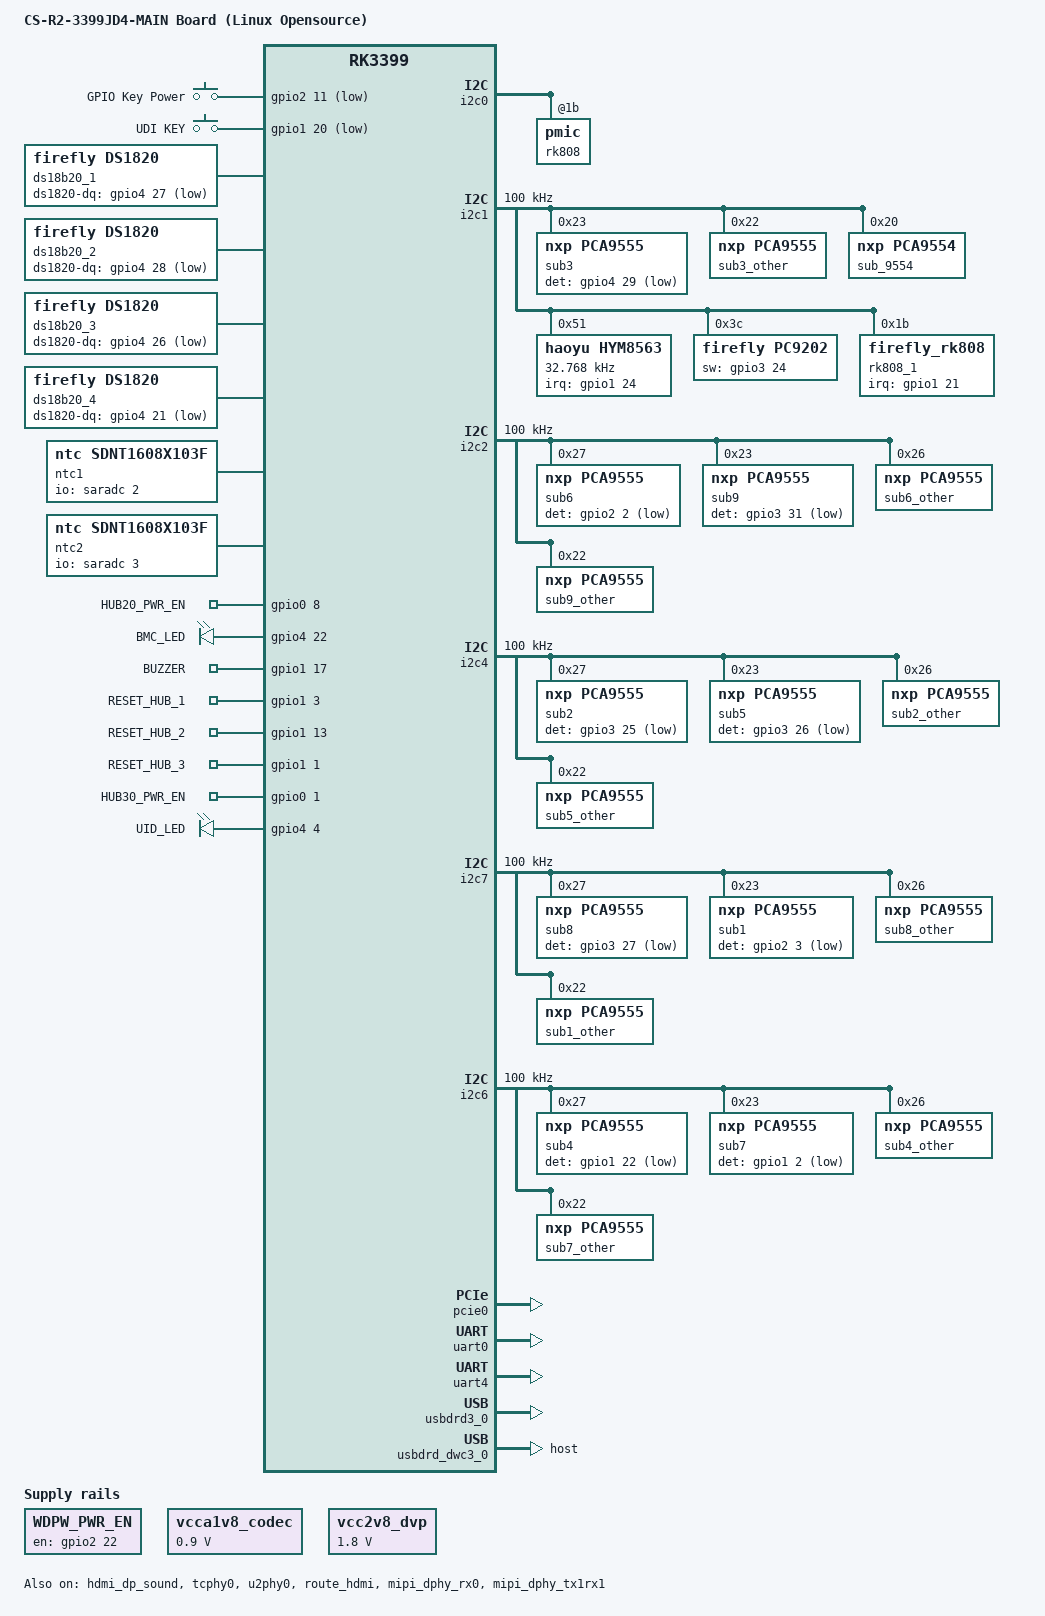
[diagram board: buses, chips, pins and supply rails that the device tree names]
/dts-v1/;

#include "rk3399-firefly-port.dtsi"
#include <dt-bindings/sensor-dev.h>


#define PCA955_I2C_CLK 100000

/ {
	model = "CS-R2-3399JD4-MAIN Board (Linux Opensource)";
	compatible = "rockchip,rk3399-firefly", "rockchip,rk3399";

	/delete-property/ rt5640-sound;
	/delete-node/ wireless-wlan;
	/delete-node/ wireless-bluetooth;
	/delete-node/ vcc5v0_host;

	///delete-node/ vcc-mipi;

	//UDI_KEY
	// gpio-keys {
    //     compatible = "gpio-keys";
    //     #address-cells = <1>;
    //     #size-cells = <0>;
    //     autorepeat;

    //     pinctrl-names = "default";
    //     pinctrl-0 = <&pwrbtn>;

    //     button@0 {
    //         gpios = <&gpio1 20 GPIO_ACTIVE_LOW>;
    //         linux,code = <KEY_POWER>;
    //         label = "GPIO Key Power";
    //         linux,input-type = <1>;
    //         gpio-key,wakeup = <1>;
    //         debounce-interval = <100>;
    //     };
    // };

	gpio-keys {
		compatible = "gpio-keys";
		#address-cells = <1>;
		#size-cells = <0>;
		autorepeat;

		pinctrl-names = "default";
		pinctrl-0 = <&pwrbtn>;

		button@0 {
			gpios = <&gpio2 11 GPIO_ACTIVE_LOW>;		//power_key       GPIO2_B3
			linux,code = <KEY_POWER>;
			label = "GPIO Key Power";
			linux,input-type = <1>;
			gpio-key,wakeup = <1>;
			debounce-interval = <100>;
		};
	};


	UDI-keys {
		compatible = "gpio-keys";
		#address-cells = <1>;
		#size-cells = <0>;
		autorepeat;

		// pinctrl-names = "default";
		// pinctrl-0 = <&pwrbtn>;

		button@UDI_KEY {
			gpios = <&gpio1 20 GPIO_ACTIVE_LOW>;		//power_key       GPIO1_C4
			linux,code = <KEY_POWER>;
			label = "UDI KEY";
			linux,input-type = <1>;
			gpio-key,wakeup = <1>;
			debounce-interval = <100>;
		};
	};

	test-power {
		status = "okay";
	};

	ds18b20_1 {
		compatible = "firefly,ds1820";
		ds1820-dq = <&gpio4 27 GPIO_ACTIVE_LOW>; //GPIO4_D3 TEMP_DET_1
		ds18b20-id = <1>;
		status = "okay";
	};

	ds18b20_2 {
		compatible = "firefly,ds1820";
		ds1820-dq = <&gpio4 28 GPIO_ACTIVE_LOW>; //GPIO4_D4 TEMP_DET_2
		ds18b20-id = <2>;
		status = "okay";
	};

	ds18b20_3 {
		compatible = "firefly,ds1820";
		ds1820-dq = <&gpio4 26 GPIO_ACTIVE_LOW>; //GPIO4_D2 TEMP_DET_3
		ds18b20-id = <3>;
		status = "okay";
	};

	ds18b20_4 {
		compatible = "firefly,ds1820";
		ds1820-dq = <&gpio4 21 GPIO_ACTIVE_LOW>; //GPIO4_C5 TEMP_DET_4
		ds18b20-id = <4>;
		status = "okay";
	};

	ntc1 {
		compatible = "ntc,sdnt1608x103f";
		pullup-uv = <1800000>;
		pullup-ohm = <10000>;
		pulldown-ohm = <0>;
		io-channels = <&saradc 2>;
	};

	ntc2 {
		compatible = "ntc,sdnt1608x103f";
		pullup-uv = <1800000>;
		pullup-ohm = <10000>;
		pulldown-ohm = <0>;
		io-channels = <&saradc 3>;
	};

	WDPW_PWR_EN: WDPW-PWR-EN {
		compatible = "regulator-fixed";
		enable-active-high;
		regulator-always-on;
		regulator-boot-on;
		gpio = <&gpio2 22 GPIO_ACTIVE_HIGH>;            //GPIO2_C6
		pinctrl-names = "default";
		pinctrl-0 = <&wdpw_en>;
		regulator-name = "vcc5v0_wdpw";
		status = "okay";
	};

	leds {
		compatible = "gpio-leds";

		HUB20_PWR_EN {
			//BMC LED
			gpios = <&gpio0 8 GPIO_ACTIVE_HIGH>;	//GPIO0_B0
			default-state = "on";
		};

		BMC_LED {
			//BMC LED
			gpios = <&gpio4 22 GPIO_ACTIVE_HIGH>;	//GPIO4_C6  PWM1  32*4 + 22 = 128 + 22 = 150
			default-state = "on";
		};

		BUZZER {
			//BMC LED
			gpios = <&gpio1 17 GPIO_ACTIVE_HIGH>;	//GPIO1_C1  PWM1  32*1 + 17 = 32 + 17 = 49
			default-state = "off";
		};


		RESET_HUB_1 {
			//GPIO1_A3
			gpios = <&gpio1 3 GPIO_ACTIVE_HIGH>;
			default-state = "off";
		};


		RESET_HUB_2 {
			//GPIO1_B5
			gpios = <&gpio1 13 GPIO_ACTIVE_HIGH>;
			default-state = "off";
		};


		RESET_HUB_3 {
			//GPIO1_A1
			gpios = <&gpio1 1 GPIO_ACTIVE_HIGH>;
			default-state = "off";
		};

		HUB30_PWR_EN {
			//USB转前兆以太网卡
			gpios = <&gpio0 1 GPIO_ACTIVE_HIGH>;
			default-state = "off";
		};

		UID_LED {
			//USB转前兆以太网卡
			gpios = <&gpio4 4 GPIO_ACTIVE_HIGH>; //GPIO4_A4
			default-state = "off";
		};


		// work {
		// 	gpios = <&gpio4 18 GPIO_ACTIVE_HIGH>;	//GPIO4_C2  PWM0
		// 	default-state = "off";
		// };


		// work {
		// 	gpios = <&gpio2 27 GPIO_ACTIVE_HIGH>;	//GPIO2_D3
		// 	default-state = "off";
		// };
	};
};

&pwrbtn {
        rockchip,pins = <2 11 RK_FUNC_GPIO &pcfg_pull_up>;		//power_key       GPIO2_B3
};

&gmac {
	tx_delay = <0x2F>;
	rx_delay = <0x1E>;
};

&hdmi_dp_sound {
	status = "okay";
};

&i2c0 {
    rk808: pmic@1b {
        /delete-property/ pmic,stby-gpio;
		/delete-property/ rockchip,system-power-controller;
		/delete-property/ pmic,hold-gpio;
        pinctrl-names = "default";
        pinctrl-0 = <&pmic_int_l &pmic_dvs2 &pmic_hold>;

		rtc {
			status = "disabled";
		};
    };
};

&i2c1 {
	i2c-scl-rising-time-ns = <300>;
	i2c-scl-falling-time-ns = <15>;
	clock-frequency = <100000>;
	status = "okay";

	pca9555_1_1: i2c1gpio@23 {
		compatible = "nxp,pca9555";
		status = "okay";
		reg = <0x23>;
		gpio-controller;
		gpio-group-num = <1>;
		//#gpio-cells = <2>;
		det-gpio = <&gpio4 29 GPIO_ACTIVE_LOW>;		//GPIO4_D5_D_5V
		label = "sub3";
	};

	pca9555_1_2: i2c1gpio@22 {
		compatible = "nxp,pca9555";
		status = "okay";
		reg = <0x22>;
		gpio-controller;
		gpio-group-num = <10>;
		label = "sub3_other";
	};

	pca9554_1_1: i2c1gpio@20 {
		compatible = "nxp,pca9554";
		status = "okay";
		reg = <0x20>;
		gpio-controller;
		gpio-group-num = <19>;
		label = "sub_9554";
	};

	hym8563: hym8563@51 {
		compatible = "haoyu,hym8563";
		reg = <0x51>;
		interrupt-parent = <&gpio1>;
		interrupts = <24 IRQ_TYPE_EDGE_FALLING>;
		#clock-cells = <0>;
		clock-frequency = <32768>;
		clock-output-names = "xin32k";
		pinctrl-names = "default";
		pinctrl-0 = <&rtc_8563>;
		status = "okay";
	};

	pc9202: pc9202@3c {
		status = "okay";
		compatible = "firefly,pc9202";
		reg = <0x3c>;
		sw-gpio = <&gpio3 24 GPIO_ACTIVE_HIGH>;		//GPIO3_D0
		pinctrl-names = "default";
		pinctrl-0 = <&wdt_ctl>;
	};

	rk808_1: pmic@1_1b {
		compatible = "firefly_rk808";
		reg = <0x1b>;
		interrupt-parent = <&gpio1>;
		interrupts = <21 IRQ_TYPE_LEVEL_LOW>;
		// pmic,stby-gpio = <&gpio1 24 GPIO_ACTIVE_LOW>;
		// pmic,hold-gpio = <&gpio1 13 GPIO_ACTIVE_HIGH>;
		// pinctrl-names = "default";
		// pinctrl-0 = <&pmic_int_l &pmic_dvs2 &pmic_stby &pmic_hold>;
		rockchip,system-power-controller;
	};
};

&i2c2 {
	 //i2c-scl-rising-time-ns = <300>;
	 //i2c-scl-falling-time-ns = <300>;
	clock-frequency = <PCA955_I2C_CLK>;
	status = "okay";

	pca9555_2_1: i2c2gpio@27 {
		compatible = "nxp,pca9555";
		reg = <0x27>;
		gpio-controller;
		gpio-group-num = <2>;
		det-gpio = <&gpio2 2 GPIO_ACTIVE_LOW>;		//GPIO2_A2_D_5V
		label = "sub6";
	};

	pca9555_2_2: i2c2gpio@23 {
		compatible = "nxp,pca9555";
		reg = <0x23>;
		gpio-controller;
		gpio-group-num = <3>;
		det-gpio = <&gpio3 31 GPIO_ACTIVE_LOW>;		//GPIO3_D7_D_5V
		label = "sub9";
	};

	pca9555_2_3: i2c2gpio@26 {
		compatible = "nxp,pca9555";
		status = "okay";
		reg = <0x26>;
		gpio-controller;
		gpio-group-num = <11>;
		label = "sub6_other";
	};

	pca9555_2_4: i2c2gpio@22 {
		compatible = "nxp,pca9555";
		status = "okay";
		reg = <0x22>;
		gpio-controller;
		gpio-group-num = <12>;
		label = "sub9_other";
	};
};



&i2c4 {
	 //i2c-scl-rising-time-ns = <300>;
	 //i2c-scl-falling-time-ns = <300>;
	clock-frequency = <PCA955_I2C_CLK>;
	status = "okay";

	pca9555_4_1: i2c4gpio@27 {
        compatible = "nxp,pca9555";
        reg = <0x27>;
        gpio-controller;
        label = "sub2";
		gpio-group-num = <4>;
		det-gpio = <&gpio3 25 GPIO_ACTIVE_LOW>;  //GPIO3_D1_D_5V
    };

	pca9555_4_2: i2c4gpio@23 {
        compatible = "nxp,pca9555";
        reg = <0x23>;
        gpio-controller;
        label = "sub5";
		gpio-group-num = <5>;
		det-gpio = <&gpio3 26 GPIO_ACTIVE_LOW>;		//GPIO3_D2_D_5V
    };

	pca9555_4_3: i2c4gpio@26 {
		compatible = "nxp,pca9555";
		status = "okay";
		reg = <0x26>;
		gpio-controller;
		gpio-group-num = <13>;
		label = "sub2_other";
	};

	pca9555_4_4: i2c4gpio@22 {
		compatible = "nxp,pca9555";
		status = "okay";
		reg = <0x22>;
		gpio-controller;
		gpio-group-num = <14>;
		label = "sub5_other";
	};
};

&i2c7 {
	 //i2c-scl-rising-time-ns = <300>;
	 //i2c-scl-falling-time-ns = <300>;
	clock-frequency = <PCA955_I2C_CLK>;
	status = "okay";

	pca9555_7_1: i2c7gpio@27 {
		compatible = "nxp,pca9555";
		reg = <0x27>;
		gpio-controller;
		gpio-group-num = <6>;
		det-gpio = <&gpio3 27 GPIO_ACTIVE_LOW>;		//GPIO3_D3_D_5V
		label = "sub8";
	};

	pca9555_7_2: i2c7gpio@23 {
		compatible = "nxp,pca9555";
		reg = <0x23>;
		gpio-controller;
		gpio-group-num = <7>;
		det-gpio = <&gpio2 3 GPIO_ACTIVE_LOW>;		//GPIO2_A3_D_5V
		label = "sub1";
	};

	pca9555_7_3: i2c7gpio@26 {
		compatible = "nxp,pca9555";
		status = "okay";
		reg = <0x26>;
		gpio-controller;
		gpio-group-num = <15>;
		label = "sub8_other";
	};

	pca9555_7_4: i2c7gpio@22 {
		compatible = "nxp,pca9555";
		status = "okay";
		reg = <0x22>;
		gpio-controller;
		gpio-group-num = <16>;
		label = "sub1_other";
	};
};

&i2c6 {
	 //i2c-scl-rising-time-ns = <300>;
	 //i2c-scl-falling-time-ns = <300>;
	clock-frequency = <PCA955_I2C_CLK>;
	status = "okay";

	pca9555_6_1: i2c6gpio@27 {
        compatible = "nxp,pca9555";
        reg = <0x27>;
        gpio-controller;
		gpio-group-num = <8>;
		det-gpio = <&gpio1 22 GPIO_ACTIVE_LOW>;		//GPIO1_C6_D_5V
        label = "sub4";
    };

	pca9555_6_2: i2c6gpio@23 {
		compatible = "nxp,pca9555";
		reg = <0x23>;
		gpio-controller;
		gpio-group-num = <9>;
		det-gpio = <&gpio1 2 GPIO_ACTIVE_LOW>;		//GPIO1_A2_D_5V
		label = "sub7";
	};

	pca9555_6_3: i2c6gpio@26 {
		compatible = "nxp,pca9555";
		status = "okay";
		reg = <0x26>;
		gpio-controller;
		gpio-group-num = <17>;
		label = "sub4_other";
	};

	pca9555_6_4: i2c6gpio@22 {
		compatible = "nxp,pca9555";
		status = "okay";
		reg = <0x22>;
		gpio-controller;
		gpio-group-num = <18>;
		label = "sub7_other";
	};
};



&vcca1v8_codec {
	regulator-min-microvolt = <900000>;
	regulator-max-microvolt = <900000>;
};

&spi1 {
    status = "disabled";
};

&vcc3v3_3g {
	/delete-property/ gpio;
};

&vcc3v3_pcie {
	/delete-property/ gpio;
};

&pcie0 {
	status = "okay";
	/delete-property/ pinctrl-names;		//Occupy the power pin of sub2-board
	/delete-property/ pinctrl-0;
//	/delete-property/ ep-gpios;
};

&fiq_debugger {
	rockchip,baudrate = <115200>;  /* Only 115200 and 1500000 */
};

&spdif {
    status = "disabled";
};

&sdio0 {
    status = "disabled";
};

&rt5640 {
	status = "disabled";
};


&uart0 {
	status = "okay";
};

&uart4 {
    status = "okay";
};

&dp_in_vopb {
	status = "disabled";
};

&hdmi_in_vopl {
	status = "disabled";
};

&wdt {
	status = "disabled";
};

&io_domains {
	bt656-supply = <&vcc_3v0>;
};

&i2s0 {
    status = "disabled";
};

&i2s1 {
    status = "disabled";
};

&vcc2v8_dvp {
	regulator-min-microvolt = <1800000>;
	regulator-max-microvolt = <1800000>;
};

&vcca1v8_codec {
	regulator-min-microvolt = <900000>;
	regulator-max-microvolt = <900000>;
};

&pinctrl {
	pinctrl-names = "default";
	pinctrl-0 = <&host_hub_vcc>;


	/delete-property/ pmic_stby;

	host-hub-vcc {
		host_hub_vcc: host-hub-vcc {
			rockchip,pins =
				<2 4 RK_FUNC_GPIO &pcfg_output_high>,
				<4 29 RK_FUNC_GPIO &pcfg_output_high>;
		};
	};

	hub_pwr_en {
		// control VCC5V0_HOST3
		hub20_pwr_en: hub20-pwr-en {
			rockchip,pins =
				<0 8 RK_FUNC_GPIO &pcfg_pull_up>;
		};

		// control VCC5V0_HOST0
		hub30_pwr_en: hub30-pwr-en {
			rockchip,pins =
				<0 1 RK_FUNC_GPIO &pcfg_output_high>;
		};
	};

	vcc_host_en {
		// control VCC5V0_HOST0
		vcc5v0_host1_en: vcc5v0-host1-en {
			rockchip,pins =
				<1 0 RK_FUNC_GPIO &pcfg_output_high>;
		};
	};

	pcie {
		pcie_3g_drv: pcie-3g-drv {
			rockchip,pins =
				<2 6 RK_FUNC_GPIO &pcfg_pull_up>;
		};
	};

	rtc {
		rtc_8563: rtc-8563 {
			rockchip,pins =
				<1 24 RK_FUNC_GPIO &pcfg_pull_none>;
		};
	};

	vcc_sd {
		vcc_sd_h: vcc-sd-h {
			rockchip,pins =
				<4 30 RK_FUNC_GPIO &pcfg_pull_up>;
		};
	};

	watchdog {
		wdt_ctl: wdt-ctl {
			rockchip,pins =
			<3 24 RK_FUNC_GPIO &pcfg_pull_none>;		//GPIO3_D0
		};

		wdpw_en: wdpw-en {
			rockchip,pins =
			<2 22 RK_FUNC_GPIO &pcfg_pull_none>;		//GPIO2_C6
		};
	};
};

&fusb0 {
    status = "disabled";
};

&cdn_dp {
    status = "disabled";
};

&tcphy0 {
    /delete-property/ extcon;
    status = "okay";
};

&u2phy0 {
    status = "okay";
    /delete-property/ extcon;

    u2phy0_otg: otg-port {
        rockchip,vbus-always-on;
        // vbus-5v-gpios = <&gpio1 3 GPIO_ACTIVE_HIGH>;
        status = "okay";
    };

	u2phy0_host: host-port {
		/delete-property/ phy-supply;
	};
};


&vcc_mipi {
	status = "disabled";
};

&u2phy1 {
	u2phy1_host: host-port {
		/delete-property/ phy-supply;
	};
};

&usbdrd3_0 {
    status = "okay";
    /delete-property/ extcon;
};

&usbdrd_dwc3_0 {
    dr_mode = "host";
	status = "okay";
};

&route_hdmi {
	status = "okay";
};

&dvdd_1v2 {
	status = "disabled";
};

&ov13850 {
	status = "disabled";
};

&ov13850_1 {
	status = "disabled";
};

&rkisp1_0 {
	status = "disabled";
};

&mipi_dphy_rx0 {
	status = "okay";
};

&isp0_mmu {
	status = "disabled";
};

&rkisp1_1 {
	status = "disabled";
};

&mipi_dphy_tx1rx1 {
	status = "okay";
};

&isp1_mmu {
	status = "disabled";
};
